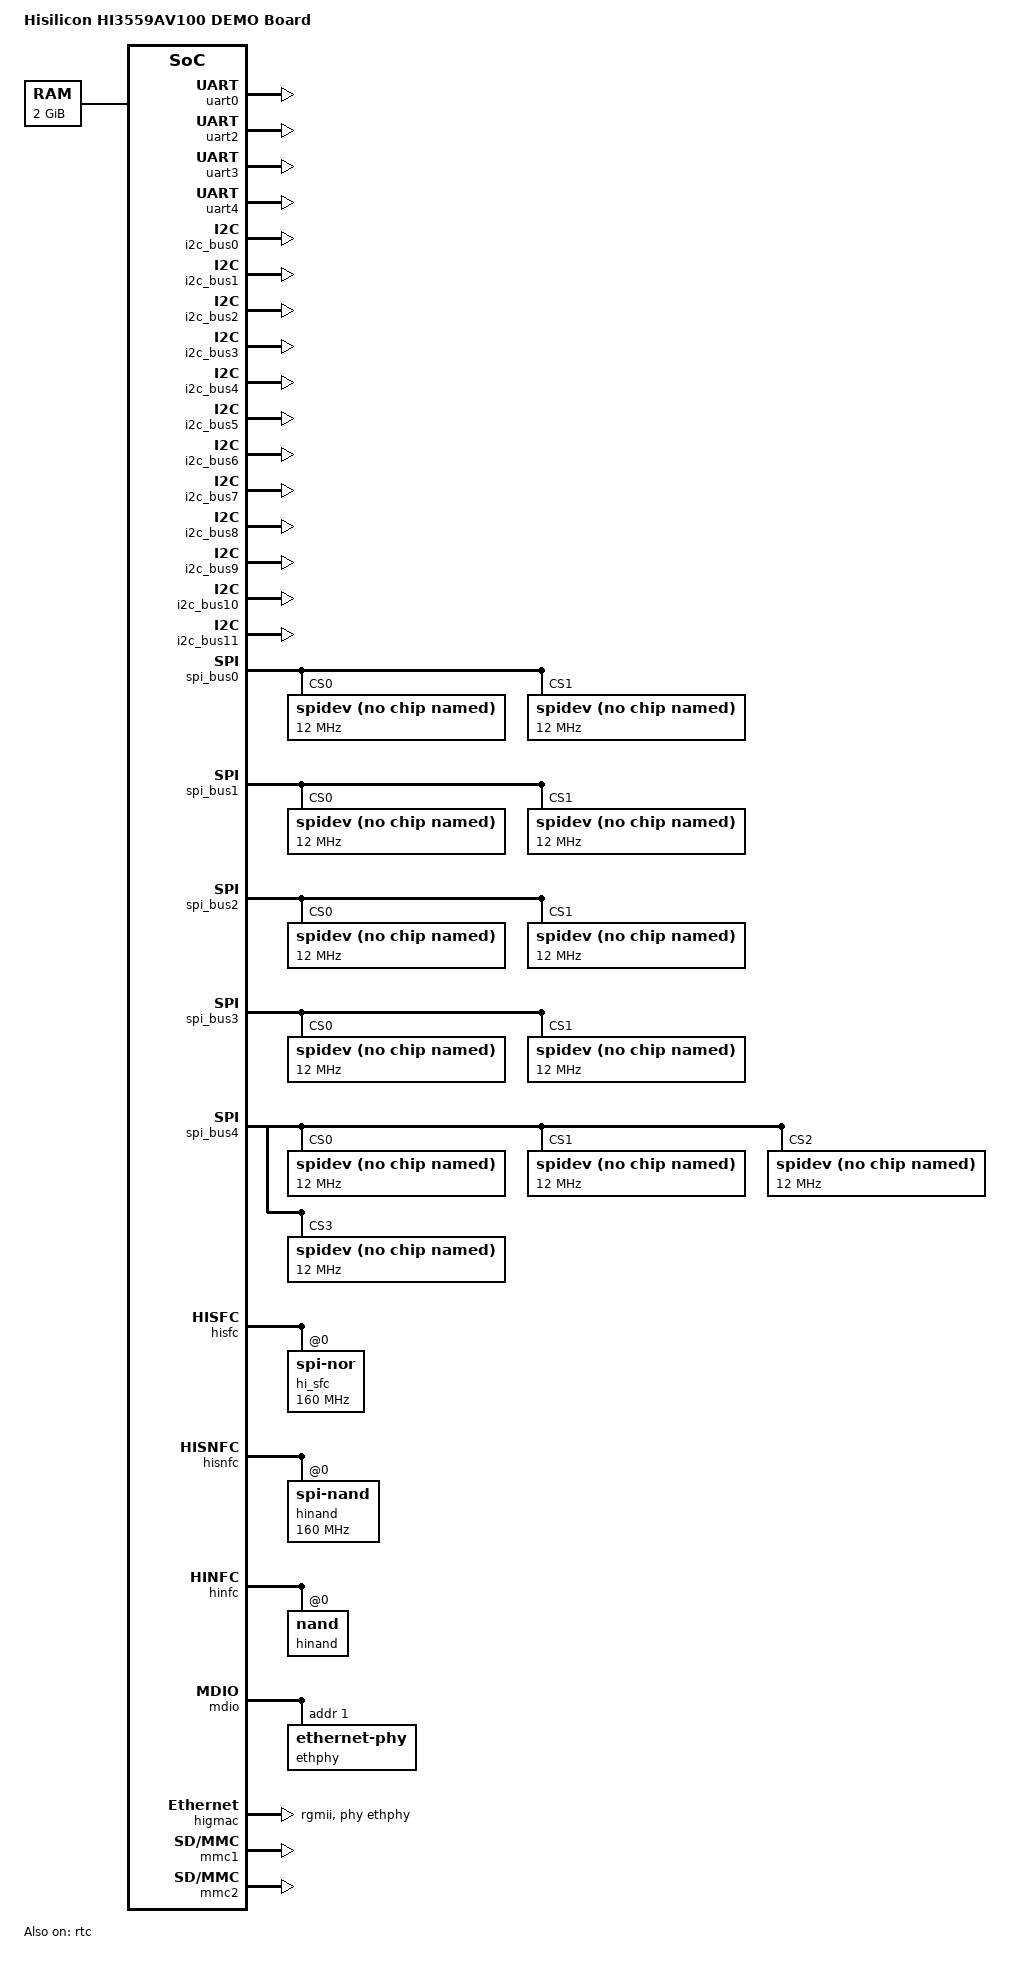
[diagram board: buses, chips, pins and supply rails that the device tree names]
/* Copyright (c) 2017 HiSilicon Technologies Co., Ltd.
 *
 * This program is free software; you can redistribute  it and/or modify it
 * under  the terms of  the GNU General  Public License as published by the
 * Free Software Foundation;  either version 2 of the  License, or (at your
 * option) any later version.
 *
 * This program is distributed in the hope that it will be useful,
 * but WITHOUT ANY WARRANTY; without even the implied warranty of
 * MERCHANTABILITY or FITNESS FOR A PARTICULAR PURPOSE. See the
 * GNU General Public License for more details.
 *
 * You should have received a copy of the GNU General Public License
 * along with this program.  If not, see <http://www.gnu.org/licenses/>.
 *
 */

/dts-v1/;
/* reserved for warmreset */
/* reserved for arm trustedfirmware */
/* Modify this configuration according to the system framework */
/memreserve/ 0x53000000 0x00200000;
#include "hi3559av100.dtsi"

/ {
	model = "Hisilicon HI3559AV100 DEMO Board";
	compatible = "hisilicon,hi3559av100";

	aliases {
		serial0 = &uart0;
		serial1 = &uart1;
		serial2 = &uart2;
		serial3 = &uart3;
		serial4 = &uart4;
		serial5 = &uart5;
		serial6 = &uart6;
		serial7 = &uart7;
		serial8 = &uart8;
		serial9 = &uart9;

		i2c0 = &i2c_bus0;
		i2c1 = &i2c_bus1;
		i2c2 = &i2c_bus2;
		i2c3 = &i2c_bus3;
		i2c4 = &i2c_bus4;
		i2c5 = &i2c_bus5;
		i2c6 = &i2c_bus6;
		i2c7 = &i2c_bus7;
		i2c8 = &i2c_bus8;
		i2c9 = &i2c_bus9;
		i2c10 = &i2c_bus10;
		i2c11 = &i2c_bus11;
		i2c12 = &i2c_bus12;
		i2c13 = &i2c_bus13;
		i2c14 = &i2c_bus14;
		i2c15 = &i2c_bus15;
		i2c16 = &i2c_bus16;
		i2c17 = &i2c_bus17;
		i2c18 = &i2c_bus18;
		i2c19 = &i2c_bus19;

		spi0 = &spi_bus0;
		spi1 = &spi_bus1;
		spi2 = &spi_bus2;
		spi3 = &spi_bus3;
		spi4 = &spi_bus4;
		spi5 = &spi_bus5;
		spi6 = &spi_bus6;
		spi7 = &spi_bus7;

        gpio0 = &gpio_chip0;
		gpio1 = &gpio_chip1;
		gpio2 = &gpio_chip2;
		gpio3 = &gpio_chip3;
		gpio4 = &gpio_chip4;
		gpio5 = &gpio_chip5;
		gpio6 = &gpio_chip6;
		gpio7 = &gpio_chip7;
		gpio8 = &gpio_chip8;
		gpio9 = &gpio_chip9;
		gpio10 = &gpio_chip10;
		gpio11 = &gpio_chip11;
		gpio12 = &gpio_chip12;
		gpio13 = &gpio_chip13;
		gpio14 = &gpio_chip14;
		gpio15 = &gpio_chip15;
		gpio16 = &gpio_chip16;
		gpio17 = &gpio_chip17;
		gpio18 = &gpio_chip18;
	};

	chosen {
		bootargs = "mem=512M console=ttyAMA0,115200 clk_ignore_unused root=/dev/mtdblock2 rootfstype=yaffs2 rw mtdparts=hinand:1M(boot),9M(kernel),32M(rootfs),1M(this_bootargs_string_is_reserved_for_bootargs_form_uboot!!!_it_must_be_longer_than_bootargs_form_uboot!!!_this_bootargs_string_is_reserved_for_bootargs_form_uboot!!!_it_must_be_longer_than_bootargs_form_uboot!!!_this_bootargs_string_is_reserved_for_bootargs_form_uboot!!!_it_must_be_longer_than_bootargs_form_uboot!!!_this_bootargs_string_is_reserved_for_bootargs_form_uboot!!!_it_must_be_longer_than_bootargs_form_uboot!!!_this_bootargs_string_is_reserved_for_bootargs_form_uboot!!!_it_must_be_longer_than_bootargs_form_uboot!!!)";

		linux,initrd-start = <0x60000040>;
		linux,initrd-end = <0x61000000>;
	};

	cpus {
		#address-cells = <2>;
		#size-cells = <0>;

		cpu@0 {
			compatible = "arm,cortex-a53";
			device_type = "cpu";
			reg = <0x0 0x0>;
			enable-method = "psci";
			cpu-idle-states = <&CPU_POWERDOWN &CPU_STANDBY>;
		};

		cpu@1 {
			compatible = "arm,cortex-a53";
			device_type = "cpu";
			reg = <0x0 0x1>;
			enable-method = "psci";
			cpu-idle-states = <&CPU_POWERDOWN &CPU_STANDBY>;
		};
		cpu@2 {
			compatible = "arm,cortex-a73";
			device_type = "cpu";
			reg = <0x0 0x100>;
			enable-method = "psci";
			cpu-idle-states = <&CPU_POWERDOWN &CPU_STANDBY>;
		};
		cpu@3 {
			compatible = "arm,cortex-a73";
			device_type = "cpu";
			reg = <0x0 0x101>;
			enable-method = "psci";
			cpu-idle-states = <&CPU_POWERDOWN &CPU_STANDBY>;
		};

	};

	memory {
		device_type = "memory";
		reg = <0x0 0x50000000 0x0 0x80000000>; /* system memory base */
	};
};

&ipcm {
    status = "okay";
};

&uart0 {
	status = "okay";
};

&uart1 {
	status = "disabled";
};

&uart2 {
	status = "okay";
};

&uart3 {
	status = "okay";
};

&uart4 {
	status = "okay";
};

&uart5 {
	status = "disable";
};

&uart6 {
	status = "disable";
};

&uart7 {
	status = "disable";
};

&uart8 {
	status = "disable";
};

&uart9 {
	status = "disable";
};

&i2c_bus0 {
	status = "okay";
};

&i2c_bus1 {
	status = "okay";
};

&i2c_bus2 {
	status = "okay";
};

&i2c_bus3 {
	status = "okay";
};

&i2c_bus4 {
	status = "okay";
};

&i2c_bus5 {
	status = "okay";
};

&i2c_bus6 {
	status = "okay";
};

&i2c_bus7 {
	status = "okay";
};

&i2c_bus8 {
	status = "okay";
};

&i2c_bus9 {
	status = "okay";
};

&i2c_bus10 {
	status = "okay";
};

&i2c_bus11 {
	status = "okay";
};

&i2c_bus12 {
	status = "disable";
};

&i2c_bus13 {
	status = "disable";
};

&i2c_bus14 {
	status = "disable";
};

&i2c_bus15 {
	status = "disable";
};

&i2c_bus16 {
	status = "disable";
};

&i2c_bus17 {
	status = "disable";
};

&i2c_bus18 {
	status = "disable";
};

&i2c_bus19 {
	status = "disable";
};

&spi_bus0{
	status = "okay";

	spidev@0 {
		compatible = "rohm,dh2228fv";
		reg = <0>;
		pl022,interface = <0>;
		pl022,com_mode = <0>;
		spi-max-frequency = <12000000>;
	};

	spidev@1 {
		compatible = "rohm,dh2228fv";
		reg = <1>;
		pl022,interface = <0>;
		pl022,com_mode = <0>;
		spi-max-frequency = <12000000>;
	};
};

&spi_bus1{
	status = "okay";

	spidev@0 {
		compatible = "rohm,dh2228fv";
		reg = <0>;
		pl022,interface = <0>;
		pl022,com_mode = <0>;
		spi-max-frequency = <12000000>;
	};

	spidev@1 {
		compatible = "rohm,dh2228fv";
		reg = <1>;
		pl022,interface = <0>;
		pl022,com_mode = <0>;
		spi-max-frequency = <12000000>;
	};
};

&spi_bus2{
	status = "okay";

	spidev@0 {
		compatible = "rohm,dh2228fv";
		reg = <0>;
		pl022,interface = <0>;
		pl022,com_mode = <0>;
		spi-max-frequency = <12000000>;
	};

	spidev@1 {
		compatible = "rohm,dh2228fv";
		reg = <1>;
		pl022,interface = <0>;
		pl022,com_mode = <0>;
		spi-max-frequency = <12000000>;
	};
};

&spi_bus3{
	status = "okay";

	spidev@0 {
		compatible = "rohm,dh2228fv";
		reg = <0>;
		pl022,interface = <0>;
		pl022,com_mode = <0>;
		spi-max-frequency = <12000000>;
	};

	spidev@1 {
		compatible = "rohm,dh2228fv";
		reg = <1>;
		pl022,interface = <0>;
		pl022,com_mode = <0>;
		spi-max-frequency = <12000000>;
	};
};

&spi_bus4{
	status = "okay";

	spidev@0 {
		compatible = "rohm,dh2228fv";
		reg = <0>;
		pl022,interface = <0>;
		pl022,com_mode = <0>;
		spi-max-frequency = <12000000>;
	};

	spidev@1 {
		compatible = "rohm,dh2228fv";
		reg = <1>;
		pl022,interface = <0>;
		pl022,com_mode = <0>;
		spi-max-frequency = <12000000>;
	};

	spidev@2 {
		compatible = "rohm,dh2228fv";
		reg = <2>;
		pl022,interface = <0>;
		pl022,com_mode = <0>;
		spi-max-frequency = <12000000>;
	};

	spidev@3 {
		compatible = "rohm,dh2228fv";
		reg = <3>;
		pl022,interface = <0>;
		pl022,com_mode = <0>;
		spi-max-frequency = <12000000>;
	};
};

&spi_bus5{
	status = "disable";

	spidev@0 {
		compatible = "rohm,dh2228fv";
		reg = <0>;
		pl022,interface = <0>;
		pl022,com_mode = <0>;
		spi-max-frequency = <12000000>;
	};

	spidev@1 {
		compatible = "rohm,dh2228fv";
		reg = <1>;
		pl022,interface = <0>;
		pl022,com_mode = <0>;
		spi-max-frequency = <12000000>;
	};
	spidev@2 {
		compatible = "rohm,dh2228fv";
		reg = <2>;
		pl022,interface = <0>;
		pl022,com_mode = <0>;
		spi-max-frequency = <12000000>;
	};
};

&spi_bus6{
	status = "disable";

	spidev@0 {
		compatible = "rohm,dh2228fv";
		reg = <0>;
		pl022,interface = <0>;
		pl022,com_mode = <0>;
		spi-max-frequency = <12000000>;
	};

	spidev@1 {
		compatible = "rohm,dh2228fv";
		reg = <1>;
		pl022,interface = <0>;
		pl022,com_mode = <0>;
		spi-max-frequency = <12000000>;
	};
	spidev@2 {
		compatible = "rohm,dh2228fv";
		reg = <2>;
		pl022,interface = <0>;
		pl022,com_mode = <0>;
		spi-max-frequency = <12000000>;
	};
};

&spi_bus7{
	status = "disable";

	spidev@0 {
		compatible = "rohm,dh2228fv";
		reg = <0>;
		pl022,interface = <0>;
		pl022,com_mode = <0>;
		spi-max-frequency = <12000000>;
	};
};

&gpio_chip0 {
	status = "okay";
};

&gpio_chip1 {
	status = "okay";
};

&gpio_chip2 {
	status = "okay";
};

&gpio_chip3 {
	status = "okay";
};

&gpio_chip4 {
	status = "okay";
};

&gpio_chip5 {
	status = "okay";
};

&gpio_chip6 {
	status = "okay";
};

&gpio_chip7 {
	status = "okay";
};

&gpio_chip8 {
	status = "okay";
};

&gpio_chip9 {
	status = "okay";
};

&gpio_chip10 {
	status = "okay";
};

&gpio_chip11 {
	status = "okay";
};

&gpio_chip12 {
	status = "okay";
};

&gpio_chip13 {
	status = "okay";
};

&gpio_chip14 {
	status = "okay";
};

&gpio_chip15 {
	status = "okay";
};

&gpio_chip16 {
	status = "okay";
};

&gpio_chip17 {
	status = "okay";
};

&gpio_chip18 {
	status = "okay";
};

&rtc{
	status = "okay";
};

&hisfc {
	hi_sfc {
		compatible = "jedec,spi-nor";
		reg = <0>;
		spi-max-frequency = <160000000>;
		m25p,fast-read;
	};
};

&hisnfc {
	hinand {
		compatible = "jedec,spi-nand";
		reg = <0>;
		spi-max-frequency = <160000000>;
	};
};

&hinfc {
	hinand {
		compatible = "jedec,nand";
		reg = <0>;
		nand-max-frequency = <200000000>;
	};
};

&mdio {
	ethphy: ethernet-phy@1 {
		reg = <1>;
	};
};

#if 0
&mdio1 {
	ethphy1: ethernet-phy@3 {
		reg = <3>;
	};
};
#endif

&higmac {
	phy-handle = <&ethphy>;
	phy-mode = "rgmii";
};

#if 0
&higmac1 {
	phy-handle = <&ethphy1>;
	phy-mode = "rgmii";
};
#endif

&mmc1 {
	status = "okay";
};

&mmc2 {
	status = "okay";
};

&mmc3 {
	status = "disable";
};

&hivdmac {
	status = "disabled";
};

&hiedmacv310_0 {
	status = "okay";
};

&hiedmacv310_1 {
	status = "okay";
};
